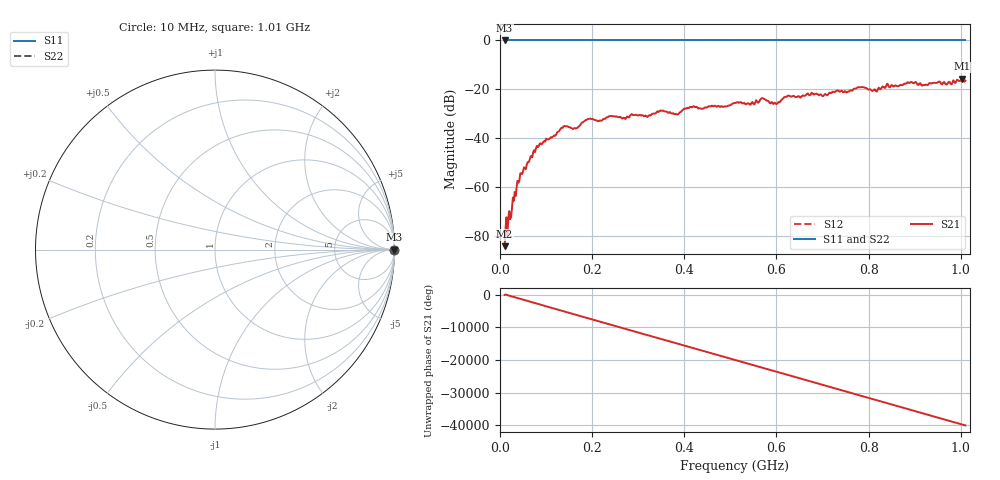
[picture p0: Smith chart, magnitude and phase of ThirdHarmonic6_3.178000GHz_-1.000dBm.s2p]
! 8/17/2025 9:35:25 AM
! C:\ANRITSUVNA\TEMP\TEMP.S2P
! CHANNEL.1
! TR.MEASUREMENT
! RAW.DATA
! RF.CORRECTION.OFF
! AVERAGING.OFF
! IF.BANDWIDTH: 5KHZ
! SWEEPTYPE:  FREQ.SWEEP(Linear)
! Reference Plane Port Info
! PORT:  PORT1  PORT2
! DISTANCE:  0  m  0  m
! TIME:  0  s  0  s
! PHASE.OFFSET:  0  deg.  0  deg.
! LOSS:  0  dB  0  dB
! REF.LOSS:  0  dB  0  dB
! REF.FREQ:  0  Hz  0  Hz
! Power Info
! POWER:  -20  dBm  -20  dBm
! EFF.POWER:  -20  dBm  -20  dBm
! SOURCE.ATTEN:  0  dB  0  dB
! TEST.ATTEN:  0  dB  0  dB
# GHZ S RI R 50.0
! FREQ.GHZ  S11RE  S11IM  S21RE  S21IM  S12RE  S12IM  S22RE  S22IM
!; PortSelection: Port_12
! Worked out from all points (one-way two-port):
!   501 points, 10 MHz to 1.01 GHz, reference 50 ohm
!   highest |S21| = -15.66 dB at 1.002 GHz (marker M1); lowest = -84.2 dB at 10 MHz (marker M2)
!   lowest |S11| = 0.0 dB at 10 MHz (marker M3)
!   |S11| at or under -10 dB: nowhere
!   |S22| runs from 0.0 to 0.0 dB; largest |S21 - S12| = 1.2
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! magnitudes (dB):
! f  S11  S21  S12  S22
! 10 MHz  0.0  -84.2  0.0  0.0
! 20 MHz  0.0  -69.9  0.0  0.0
! 42 MHz  0.0  -57.5  0.0  0.0
! 76 MHz  0.0  -45.7  0.0  0.0
! 136 MHz  0.0  -35.8  0.0  0.0
! 162 MHz  0.0  -35.9  0.0  0.0
! 178 MHz  0.0  -33.6  0.0  0.0
! 322 MHz  0.0  -30.9  0.0  0.0
! 344 MHz  0.0  -29.3  0.0  0.0
! 382 MHz  0.0  -30.1  0.0  0.0
! 416 MHz  0.0  -27.4  0.0  0.0
! 510 MHz  0.0  -25.6  0.0  0.0
! 548 MHz  0.0  -25.2  0.0  0.0
! 570 MHz  0.0  -23.6  0.0  0.0
! 598 MHz  0.0  -25.8  0.0  0.0
! 624 MHz  0.0  -22.7  0.0  0.0
! 678 MHz  0.0  -21.6  0.0  0.0
! 780 MHz  0.0  -19.2  0.0  0.0
! 814 MHz  0.0  -20.1  0.0  0.0
! 844 MHz  0.0  -19.0  0.0  0.0
! 1.002 GHz  0.0  -15.7  0.0  0.0
! 1.01 GHz  0.0  -16.4  0.0  0.0
